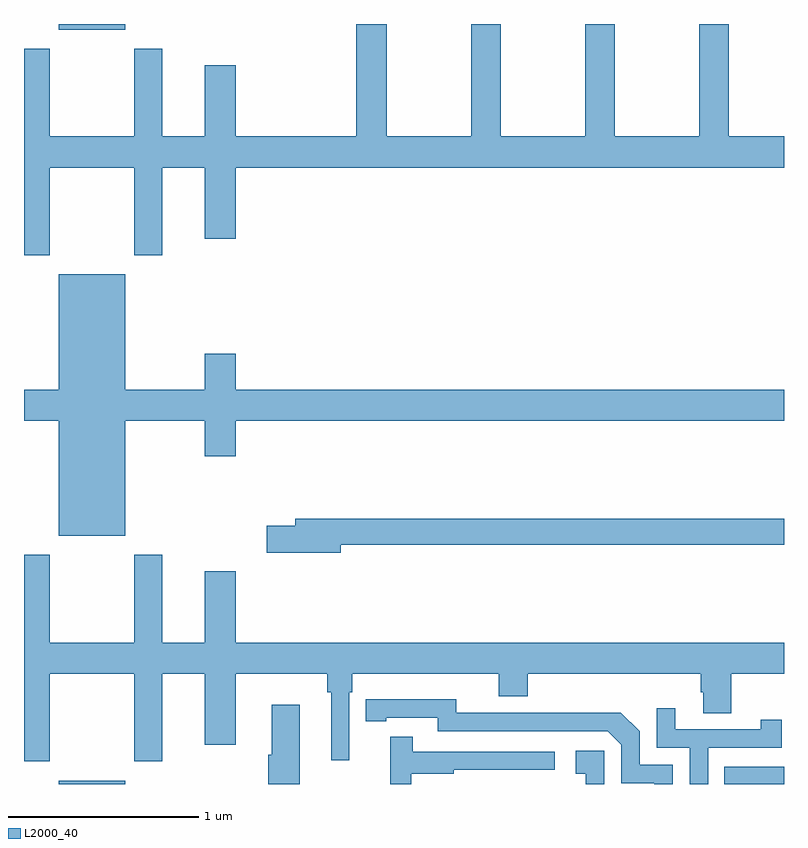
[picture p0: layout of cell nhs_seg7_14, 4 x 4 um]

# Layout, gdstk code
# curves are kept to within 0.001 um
import gdstk
lib = gdstk.Library(unit=1e-6, precision=1e-09)
def R(c, l, rs):  # rectangles x0, y0, x1, y1
    for r in rs: c.add(gdstk.rectangle(r[:2], r[2:], *l))
def P(c, l, *ps):  # polygons
    for p in ps: c.add(gdstk.Polygon(p, *l))
L2000_40 = (2000, 40)

nhs_seg7_14 = lib.new_cell('nhs_seg7_14')
R(nhs_seg7_14, L2000_40, [(111.182,1036,111.532,1036.018), (114.685,1036,115,1036.092), (111.182,1039.97,111.532,1040)])
P(nhs_seg7_14, L2000_40, [(111.135,1039.244),(111.58,1039.244),(111.58,1038.783),(111.727,1038.783),(111.727,1039.244),(111.95,1039.244),(111.95,1038.87),(112.114,1038.87),(112.114,1039.244),(115,1039.244),(115,1039.408),(114.708,1039.408),(114.708,1040),(114.553,1040),(114.553,1039.408),(114.108,1039.408),(114.108,1040),(113.953,1040),(113.953,1039.408),(113.508,1039.408),(113.508,1040),(113.353,1040),(113.353,1039.408),(112.908,1039.408),(112.908,1040),(112.748,1040),(112.748,1039.408),(112.114,1039.408),(112.114,1039.783),(111.95,1039.783),(111.95,1039.408),(111.727,1039.408),(111.727,1039.87),(111.58,1039.87),(111.58,1039.408),(111.135,1039.408),(111.135,1039.87),(111,1039.87),(111,1038.783),(111.135,1038.783)],
  [(111.532,1037.912),(111.95,1037.912),(111.95,1037.724),(112.114,1037.724),(112.114,1037.912),(115,1037.912),(115,1038.076),(112.114,1038.076),(112.114,1038.265),(111.95,1038.265),(111.95,1038.076),(111.532,1038.076),(111.532,1038.682),(111.182,1038.682),(111.182,1038.076),(111,1038.076),(111,1037.912),(111.182,1037.912),(111.182,1037.306),(111.532,1037.306)],
  [(112.666,1037.26),(115,1037.26),(115,1037.396),(112.427,1037.396),(112.427,1037.36),(112.278,1037.36),(112.278,1037.218),(112.666,1037.218)],
  [(111.135,1036.58),(111.58,1036.58),(111.58,1036.119),(111.727,1036.119),(111.727,1036.58),(111.95,1036.58),(111.95,1036.206),(112.114,1036.206),(112.114,1036.58),(112.597,1036.58),(112.597,1036.484),(112.616,1036.484),(112.616,1036.125),(112.713,1036.125),(112.713,1036.484),(112.727,1036.484),(112.727,1036.58),(113.498,1036.58),(113.498,1036.463),(113.651,1036.463),(113.651,1036.58),(114.563,1036.58),(114.563,1036.482),(114.575,1036.482),(114.575,1036.372),(114.723,1036.372),(114.723,1036.58),(115,1036.58),(115,1036.744),(112.114,1036.744),(112.114,1037.119),(111.95,1037.119),(111.95,1036.744),(111.727,1036.744),(111.727,1037.206),(111.58,1037.206),(111.58,1036.744),(111.135,1036.744),(111.135,1037.206),(111,1037.206),(111,1036.119),(111.135,1036.119)],
  [(114.414,1036.101),(114.24,1036.101),(114.24,1036.278),(114.142,1036.376),(113.734,1036.376),(113.734,1036.374),(113.274,1036.374),(113.274,1036.447),(112.798,1036.446),(112.798,1036.33),(112.906,1036.33),(112.906,1036.35),(113.178,1036.35),(113.178,1036.278),(114.072,1036.278),(114.144,1036.206),(114.144,1036.005),(114.317,1036.005),(114.317,1036),(114.414,1036)],
  [(112.45,1036.417),(112.304,1036.417),(112.304,1036.153),(112.286,1036.153),(112.286,1036),(112.45,1036)],
  [(114.6,1036.191),(114.989,1036.191),(114.989,1036.339),(114.878,1036.339),(114.878,1036.287),(114.427,1036.287),(114.427,1036.399),(114.33,1036.399),(114.33,1036.191),(114.504,1036.191),(114.504,1036),(114.6,1036)],
  [(113.038,1036.054),(113.261,1036.054),(113.261,1036.074),(113.794,1036.074),(113.794,1036.17),(113.045,1036.17),(113.045,1036.249),(112.928,1036.249),(112.928,1036),(113.038,1036)],
  [(114.054,1036.174),(113.904,1036.174),(113.904,1036.053),(113.957,1036.053),(113.957,1036),(114.054,1036)])

lib.write_gds('nhs_seg7_14.gds')
